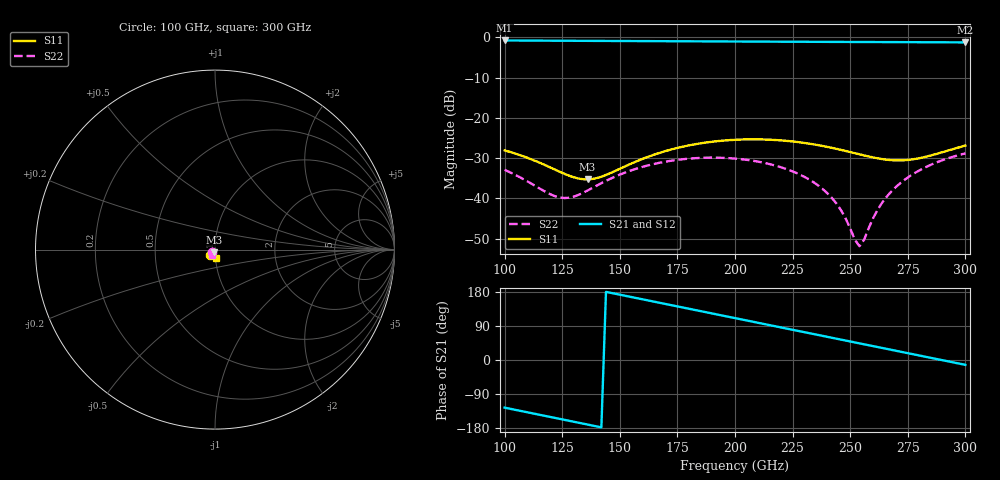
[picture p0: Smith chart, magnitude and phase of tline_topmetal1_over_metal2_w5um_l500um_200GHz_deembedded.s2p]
! Created with skrf 2.0.1 (http://scikit-rf.org).
# GHz S DB R 50.0
!freq dBS11 angS11 dBS21 angS21 dBS12 angS12 dBS22 angS22
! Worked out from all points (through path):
!   101 points, 100 GHz to 300 GHz, reference 50 ohm
!   highest |S21| = -0.76 dB at 100 GHz (marker M1); lowest = -1.2 dB at 300 GHz (marker M2)
!   group delay of S21, straight-line fit = 3.43 ps
!   lowest |S11| = -35.3 dB at 136 GHz (marker M3), VSWR 1.04, Z = 49.4 - j1.59 ohm
!   |S11| at or under -10 dB: start of sweep to end of sweep
!   |S22| runs from -51.8 to -28.8 dB; largest |S21 - S12| = 1.1e-14
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100  -28.06 -133.6  -0.76 -125.8  -0.76 -125.8  -32.90 -144.5
122  -32.87 -137.0  -0.82 -153.0  -0.82 -153.0  -39.46 -133.2
128  -34.35 -129.2  -0.83 -160.4  -0.83 -160.4  -39.81 -116.4
134  -35.22 -116.1  -0.85 -167.8  -0.85 -167.8  -38.60 -102.8
136  -35.26 -111.0  -0.85 -170.3  -0.85 -170.3  -38.02 -99.9
142  -34.59 -97.0  -0.87 -177.7  -0.87 -177.7  -36.20 -95.8
152  -32.10 -84.3  -0.89 169.9  -0.89 169.9  -33.63 -98.5
168  -28.54 -84.5  -0.93 150.1  -0.93 150.1  -31.05 -113.1
184  -26.40 -93.7  -0.98 130.3  -0.98 130.3  -29.95 -132.0
200  -25.43 -105.2  -1.02 110.6  -1.02 110.6  -30.09 -152.2
220  -25.58 -119.0  -1.06 85.9  -1.06 85.9  -32.26 -177.4
234  -26.55 -126.0  -1.09 68.6  -1.09 68.6  -35.94 166.8
244  -27.67 -128.1  -1.12 56.3  -1.12 56.3  -41.24 161.1
248  -28.20 -127.9  -1.12 51.4  -1.12 51.4  -44.93 165.3
252  -28.75 -126.8  -1.13 46.4  -1.13 46.4  -50.22 -171.1
254  -29.03 -126.0  -1.14 43.9  -1.14 43.9  -51.85 -140.5
256  -29.30 -124.8  -1.14 41.5  -1.14 41.5  -50.29 -109.3
262  -30.03 -119.9  -1.15 34.1  -1.15 34.1  -42.70 -81.3
268  -30.49 -112.7  -1.17 26.7  -1.17 26.7  -38.17 -81.2
274  -30.49 -104.4  -1.18 19.3  -1.18 19.3  -35.20 -86.0
282  -29.75 -94.4  -1.20 9.4  -1.20 9.4  -32.44 -94.9
300  -26.86 -85.4  -1.24 -12.8  -1.24 -12.8  -28.80 -118.1
